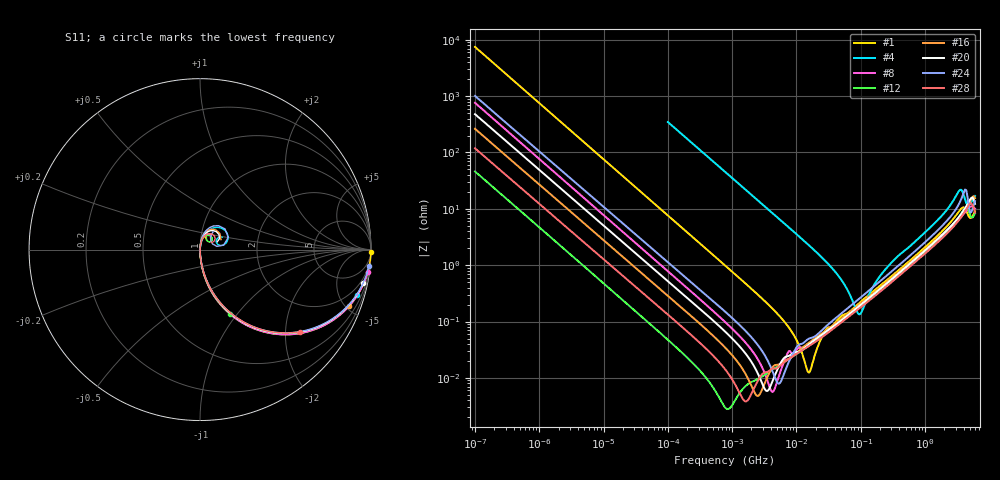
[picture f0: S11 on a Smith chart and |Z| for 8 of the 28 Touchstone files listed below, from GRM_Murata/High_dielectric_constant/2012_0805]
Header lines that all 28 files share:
!These Parameters are Measured in Series Mode Connection
!Data Generated on Mar 30, 2021
!  o--ll--o
!Port1  Port2
!  o------o
!Operation Temp=25[degC], DC Bias Voltage=0[V]
# Hz S RI R 50
!Freq.(Hz) S11(Real) S11(Imag) S21(Real) S21(Imag) S12(Real) S12(Imag) S22(Real) S22(Imag)
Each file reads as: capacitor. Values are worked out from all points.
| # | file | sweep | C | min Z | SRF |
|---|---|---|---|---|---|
| 1 | GRM21AR72A224KAC5.s2p | 100 Hz to 6 GHz | 213 nF | 12.4 mohm | 15.73 MHz |
| 2 | GRM21AR72A334KAC5.s2p | 100 Hz to 6 GHz | 317 nF | 10.6 mohm | 12.58 MHz |
| 3 | GRM21AR72E102KW01.s2p | 100 kHz to 6 GHz | 957 pF | 325 mohm | 217.9 MHz |
| 4 | GRM21AR72E472KW01.s2p | 100 kHz to 6 GHz | 4.57 nF | 135 mohm | 95.57 MHz |
| 5 | GRM21AR72E682KW01.s2p | 100 kHz to 6 GHz | 6.32 nF | 103 mohm | 83.79 MHz |
| 6 | GRM21BB10J105KC01.s2p | 100 Hz to 6 GHz | 954 nF | 6.95 mohm | 6.36 MHz |
| 7 | GRM21BB11A105KA01.s2p | 100 Hz to 6 GHz | 930 nF | 7.18 mohm | 6.546 MHz |
| 8 | GRM21BB11A225KA01.s2p | 100 Hz to 6 GHz | 2.09 uF | 5.63 mohm | 4.32 MHz |
| 9 | GRM21BB11E224MA01.s2p | 100 Hz to 6 GHz | 218 nF | 14.3 mohm | 13.89 MHz |
| 10 | GRM21BB11H104KA01.s2p | 100 Hz to 6 GHz | 96 nF | 20.4 mohm | 21.13 MHz |
| 11 | GRM21BB11H683KA01.s2p | 100 Hz to 6 GHz | 67.5 nF | 28.1 mohm | 25.19 MHz |
| 12 | GRM21BB30G476ME15.s2p | 100 Hz to 6 GHz | 34.5 uF | 2.79 mohm | 910.9 kHz |
| 13 | GRM21BB31C106ME15.s2p | 100 Hz to 6 GHz | 8.4 uF | 3.77 mohm | 2.091 MHz |
| 14 | GRM21BB31C475KA87.s2p | 100 Hz to 6 GHz | 3.26 uF | 5.96 mohm | 3.738 MHz |
| 15 | GRM21BB31D106KE15.s2p | 100 Hz to 6 GHz | 7.06 uF | 5.06 mohm | 2.463 MHz |
| 16 | GRM21BB31E106KA73.s2p | 100 Hz to 6 GHz | 6.02 uF | 4.77 mohm | 2.567 MHz |
| 17 | GRM21BB31E225MA75.s2p | 100 Hz to 6 GHz | 1.55 uF | 7.52 mohm | 5.415 MHz |
| 18 | GRM21BB31H105KA12.s2p | 100 Hz to 6 GHz | 977 nF | 6.21 mohm | 6.528 MHz |
| 19 | GRM21BB31H105MA12.s2p | 100 Hz to 6 GHz | 935 nF | 7.16 mohm | 6.646 MHz |
| 20 | GRM21BB31H475KE51.s2p | 100 Hz to 6 GHz | 3.31 uF | 5.86 mohm | 3.572 MHz |
| 21 | GRM21BB31H684KAC4.s2p | 100 Hz to 6 GHz | 659 nF | 7.41 mohm | 7.716 MHz |
| 22 | GRM21BC7YA475ME11.s2p | 100 Hz to 6 GHz | 3.57 uF | 5.48 mohm | 3.392 MHz |
| 23 | GRM21BC8YA106KE11.s2p | 100 Hz to 6 GHz | 7.33 uF | 4.32 mohm | 2.234 MHz |
| 24 | GRM21BC8YA225KA73.s2p | 100 Hz to 6 GHz | 1.57 uF | 7.87 mohm | 5.39 MHz |
| 25 | GRM21BC70G106KE45.s2p | 100 Hz to 6 GHz | 7.03 uF | 4.57 mohm | 2.402 MHz |
| 26 | GRM21BC71C106KE11.s2p | 100 Hz to 6 GHz | 7.3 uF | 4.02 mohm | 2.266 MHz |
| 27 | GRM21BC72A105KE01.s2p | 100 Hz to 6 GHz | 975 nF | 8.69 mohm | 6.415 MHz |
| 28 | GRM21BC80G226ME39.s2p | 100 Hz to 6 GHz | 13.4 uF | 3.83 mohm | 1.695 MHz |
